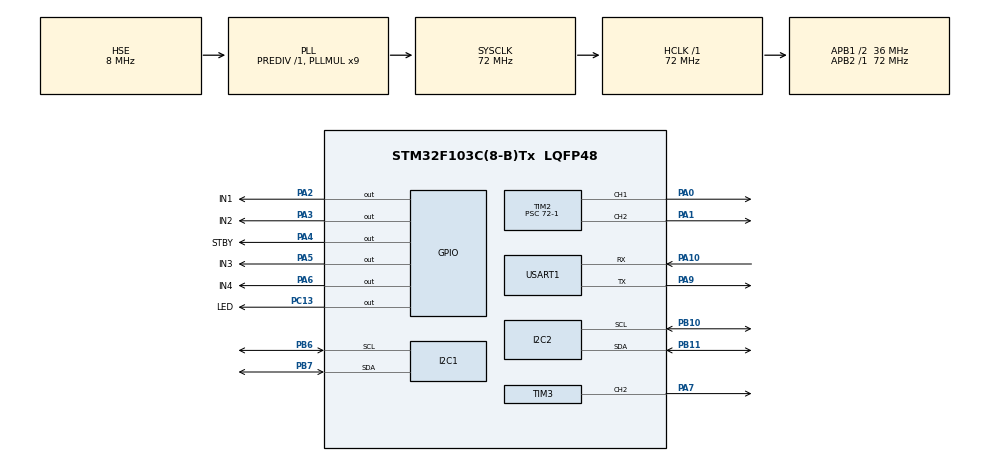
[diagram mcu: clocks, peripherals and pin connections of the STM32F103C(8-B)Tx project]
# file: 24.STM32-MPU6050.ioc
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Dma.Request0=USART1_TX
Dma.Request1=USART1_RX
Dma.USART1_RX.1.Direction=DMA_PERIPH_TO_MEMORY
Dma.USART1_RX.1.Instance=DMA1_Channel5
Dma.USART1_RX.1.MemDataAlignment=DMA_MDATAALIGN_BYTE
Dma.USART1_RX.1.MemInc=DMA_MINC_ENABLE
Dma.USART1_RX.1.Mode=DMA_NORMAL
Dma.USART1_RX.1.PeriphDataAlignment=DMA_PDATAALIGN_BYTE
Dma.USART1_RX.1.PeriphInc=DMA_PINC_DISABLE
Dma.USART1_RX.1.Priority=DMA_PRIORITY_LOW
Dma.USART1_TX.0.Direction=DMA_MEMORY_TO_PERIPH
Dma.USART1_TX.0.Instance=DMA1_Channel4
Dma.USART1_TX.0.MemDataAlignment=DMA_MDATAALIGN_BYTE
Dma.USART1_TX.0.MemInc=DMA_MINC_ENABLE
Dma.USART1_TX.0.Mode=DMA_NORMAL
Dma.USART1_TX.0.PeriphDataAlignment=DMA_PDATAALIGN_BYTE
Dma.USART1_TX.0.PeriphInc=DMA_PINC_DISABLE
Dma.USART1_TX.0.Priority=DMA_PRIORITY_LOW
I2C1.I2C_Mode=I2C_Fast
Mcu.Family=STM32F1
Mcu.Name=STM32F103C(8-B)Tx
Mcu.Package=LQFP48
NVIC.DMA1_Channel4_IRQn=true\:0\:0\:false\:false\:true\:false\:true\:true
NVIC.DMA1_Channel5_IRQn=true\:0\:0\:false\:false\:true\:false\:true\:true
NVIC.PriorityGroup=NVIC_PRIORITYGROUP_4
NVIC.TIM1_TRG_COM_IRQn=true\:0\:0\:false\:false\:true\:true\:true\:true
NVIC.TIM1_UP_IRQn=true\:0\:0\:false\:false\:true\:true\:true\:true
NVIC.USART1_IRQn=true\:0\:0\:false\:false\:true\:true\:true\:true
PA0-WKUP.Signal=S_TIM2_CH1_ETR
PA1.Signal=S_TIM2_CH2
PA10.Mode=Asynchronous
PA10.Signal=USART1_RX
PA13.Mode=Serial_Wire
PA13.Signal=SYS_JTMS-SWDIO
PA14.Mode=Serial_Wire
PA14.Signal=SYS_JTCK-SWCLK
PA2.GPIO_Label=IN1
PA2.GPIO_PuPd=GPIO_PULLUP
PA2.PinState=GPIO_PIN_SET
PA2.Signal=GPIO_Output
PA3.GPIO_Label=IN2
PA3.GPIO_PuPd=GPIO_PULLUP
PA3.PinState=GPIO_PIN_SET
PA3.Signal=GPIO_Output
PA4.GPIO_Label=STBY
PA4.GPIO_PuPd=GPIO_PULLUP
PA4.PinState=GPIO_PIN_SET
PA4.Signal=GPIO_Output
PA5.GPIO_Label=IN3
PA5.GPIO_ModeDefaultOutputPP=GPIO_MODE_OUTPUT_PP
PA5.GPIO_PuPd=GPIO_PULLUP
PA5.PinState=GPIO_PIN_SET
PA5.Signal=GPIO_Output
PA6.GPIO_Label=IN4
PA6.GPIO_ModeDefaultOutputPP=GPIO_MODE_OUTPUT_PP
PA6.GPIO_PuPd=GPIO_PULLUP
PA6.PinState=GPIO_PIN_SET
PA6.Signal=GPIO_Output
PA7.Signal=S_TIM3_CH2
PA9.Mode=Asynchronous
PA9.Signal=USART1_TX
PB10.Mode=I2C
PB10.Signal=I2C2_SCL
PB11.Mode=I2C
PB11.Signal=I2C2_SDA
PB6.Mode=I2C
PB6.Signal=I2C1_SCL
PB7.Mode=I2C
PB7.Signal=I2C1_SDA
PC13-TAMPER-RTC.GPIO_Label=LED
PC13-TAMPER-RTC.GPIO_Speed=GPIO_SPEED_FREQ_HIGH
PC13-TAMPER-RTC.Signal=GPIO_Output
PD0-OSC_IN.Mode=HSE-External-Oscillator
PD0-OSC_IN.Signal=RCC_OSC_IN
PD1-OSC_OUT.Mode=HSE-External-Oscillator
PD1-OSC_OUT.Signal=RCC_OSC_OUT
ProjectManager.HeapSize=0x200
ProjectManager.StackSize=0x400
ProjectManager.TargetToolchain=MDK-ARM V5.32
RCC.AHBFreq_Value=72000000
RCC.APB1CLKDivider=RCC_HCLK_DIV2
RCC.APB1Freq_Value=36000000
RCC.APB1TimFreq_Value=72000000
RCC.APB2Freq_Value=72000000
RCC.APB2TimFreq_Value=72000000
RCC.HCLKFreq_Value=72000000
RCC.PLLMUL=RCC_PLL_MUL9
RCC.PLLSourceVirtual=RCC_PLLSOURCE_HSE
RCC.SYSCLKFreq_VALUE=72000000
RCC.SYSCLKSource=RCC_SYSCLKSOURCE_PLLCLK
RCC.USBFreq_Value=72000000
SH.S_TIM2_CH1_ETR.0=TIM2_CH1,PWM Generation1 CH1
SH.S_TIM2_CH2.0=TIM2_CH2,PWM Generation2 CH2
SH.S_TIM3_CH2.0=TIM3_CH2,PWM Generation2 CH2
STMicroelectronics.X-CUBE-ALGOBUILD.1.4.0.LibraryCcDSPOoLibraryJjDSPOoLibrary=true
TIM1.Period=1000-1
TIM1.Prescaler=72-1
TIM2.AutoReloadPreload=TIM_AUTORELOAD_PRELOAD_ENABLE
TIM2.Channel-PWM\ Generation1\ CH1=TIM_CHANNEL_1
TIM2.Channel-PWM\ Generation2\ CH2=TIM_CHANNEL_2
TIM2.Period=20000-1
TIM2.Prescaler=72-1
TIM3.AutoReloadPreload=TIM_AUTORELOAD_PRELOAD_ENABLE
TIM3.Channel-PWM\ Generation2\ CH2=TIM_CHANNEL_2
TIM3.Period=20000-1
TIM3.Prescaler=10-1
USART1.VirtualMode=VM_ASYNC
VP_STMicroelectronics.X-CUBE-ALGOBUILD_VS_DSPOoLibraryJjLibrary_1.4.0_1.4.0.Mode=DSPOoLibraryJjLibrary
VP_TIM1_VS_ClockSourceINT.Mode=Internal
VP_TIM2_VS_ClockSourceINT.Mode=Internal
VP_TIM3_VS_ClockSourceINT.Mode=Internal
board=custom

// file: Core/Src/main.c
/* USER CODE BEGIN Header */
/**
  ******************************************************************************
  * @file           : main.c
  * @brief          : Main program body
  ******************************************************************************
  * @attention
  *
  * Copyright (c) 2025 STMicroelectronics.
  * All rights reserved.
  *
  * This software is licensed under terms that can be found in the LICENSE file
  * in the root directory of this software component.
  * If no LICENSE file comes with this software, it is provided AS-IS.
  *
  ******************************************************************************
  */
/* USER CODE END Header */
#include "main.h"
#include "dma.h"
#include "i2c.h"
#include "tim.h"
#include "usart.h"
#include "gpio.h"

/* USER CODE BEGIN Includes */
#include "oled.h"
#include "mpu6050.h"
#include "stdlib.h"
#include "stdio.h"
#include "string.h"
#include <stdbool.h>
#include "task.h"
/* USER CODE END Includes */

void SystemClock_Config(void);

/* USER CODE BEGIN 0 */
#ifdef OLD
MPU6050_t mpu6050;
char msg[64];
int num = 1;
bool init_finished = 0;
float servo_angle_deg = 0.0f;
void HAL_TIM_PeriodElapsedCallback(TIM_HandleTypeDef *htim)
{

    //判断程序初始化完成
    if(init_finished == 0)
    {
        return;
    }

    //选择回调函数
    if (htim->Instance == TIM1)
    {
			//MPU6050_Read_All(&hi2c1,&mpu6050);
			//控制电驱
      HAL_GPIO_WritePin(IN1_GPIO_Port, IN1_Pin, GPIO_PIN_RESET);
      HAL_GPIO_WritePin(IN2_GPIO_Port, IN2_Pin, GPIO_PIN_SET);
      HAL_GPIO_WritePin(STBY_GPIO_Port, STBY_Pin, GPIO_PIN_SET);
      __HAL_TIM_SET_COMPARE(&htim2, TIM_CHANNEL_2, 20000); //设置电驱PWM 范围为0 - 20000
      //计算舵机角度
      int16_t set_pwm = (int16_t)(500.0f + servo_angle_deg/180.0f*(2500.0f-500.0f));
        __HAL_TIM_SET_COMPARE(&htim2, TIM_CHANNEL_1, set_pwm);
    }
}
#endif
/* USER CODE END 0 */

int main(void)
{

  /* MCU Configuration--------------------------------------------------------*/

  /* Reset of all peripherals, Initializes the Flash interface and the Systick. */
  HAL_Init();

  /* Configure the system clock */
  SystemClock_Config();

  /* Initialize all configured peripherals */
  MX_GPIO_Init();
  MX_DMA_Init();
  MX_I2C1_Init();
  MX_I2C2_Init();
  MX_USART1_UART_Init();
  MX_TIM1_Init();
  MX_TIM2_Init();
  MX_TIM3_Init();
  /* USER CODE BEGIN 2 */
	//OLED_Init();
  #ifdef NEW
  Task_Init();
  #endif
  #ifdef OLD
	while(MPU6050_Init(&hi2c1))
	{
		HAL_GPIO_TogglePin(LED_GPIO_Port,LED_Pin);
		HAL_Delay(499);
	}
	HAL_Delay(999);
  HAL_TIM_Base_Start_IT(&htim1);
  HAL_TIM_PWM_Start(&htim2, TIM_CHANNEL_1);
  HAL_TIM_PWM_Start(&htim2, TIM_CHANNEL_2);
  init_finished = 1;
  #endif
  /* USER CODE END 2 */

  /* Infinite loop */
  /* USER CODE BEGIN WHILE */
  while (1)
  {
    #ifdef OLD
		MPU6050_Read_All(&hi2c1,&mpu6050);
    #endif
	  #ifdef oled
    OLED_NewFrame();
		OLED_PrintString(45,2,"MENU!",&font15x15,OLED_COLOR_NORMAL);
		sprintf(msg,"AngleX:%.2lf",mpu6050.KalmanAngleX);
		OLED_PrintString(0,17,msg,&font15x15,OLED_COLOR_NORMAL);
		sprintf(msg,"AngleY:%.2lf",mpu6050.KalmanAngleY);
		OLED_PrintString(0,32,msg,&font15x15,OLED_COLOR_NORMAL);
		sprintf(msg,"AngleZ:%.2lf",mpu6050.KalmanAngleZ);
		OLED_PrintString(0,47,msg,&font15x15,OLED_COLOR_NORMAL);

		OLED_ShowFrame();
		sprintf(msg,"%d,%d,%d\n",(int)mpu6050.KalmanAngleX,(int)mpu6050.KalmanAngleY,(int)mpu6050.KalmanAngleZ);
		HAL_UART_Transmit_DMA(&huart1,(uint8_t*)msg,strlen(msg));
		#endif
    #ifdef NEW
    Task_Loop();
    #endif
		//HAL_Delay(1);

    /* USER CODE END WHILE */

  }
}

void SystemClock_Config(void)
{
  RCC_OscInitTypeDef RCC_OscInitStruct = {0};
  RCC_ClkInitTypeDef RCC_ClkInitStruct = {0};

  /** Initializes the RCC Oscillators according to the specified parameters
  * in the RCC_OscInitTypeDef structure.
  */
  RCC_OscInitStruct.OscillatorType = RCC_OSCILLATORTYPE_HSE;
  RCC_OscInitStruct.HSEState = RCC_HSE_ON;
  RCC_OscInitStruct.HSEPredivValue = RCC_HSE_PREDIV_DIV1;
  RCC_OscInitStruct.HSIState = RCC_HSI_ON;
  RCC_OscInitStruct.PLL.PLLState = RCC_PLL_ON;
  RCC_OscInitStruct.PLL.PLLSource = RCC_PLLSOURCE_HSE;
  RCC_OscInitStruct.PLL.PLLMUL = RCC_PLL_MUL9;
  if (HAL_RCC_OscConfig(&RCC_OscInitStruct) != HAL_OK)
  {
    Error_Handler();
  }

  /** Initializes the CPU, AHB and APB buses clocks
  */
  RCC_ClkInitStruct.ClockType = RCC_CLOCKTYPE_HCLK|RCC_CLOCKTYPE_SYSCLK
                              |RCC_CLOCKTYPE_PCLK1|RCC_CLOCKTYPE_PCLK2;
  RCC_ClkInitStruct.SYSCLKSource = RCC_SYSCLKSOURCE_PLLCLK;
  RCC_ClkInitStruct.AHBCLKDivider = RCC_SYSCLK_DIV1;
  RCC_ClkInitStruct.APB1CLKDivider = RCC_HCLK_DIV2;
  RCC_ClkInitStruct.APB2CLKDivider = RCC_HCLK_DIV1;

  if (HAL_RCC_ClockConfig(&RCC_ClkInitStruct, FLASH_LATENCY_2) != HAL_OK)
  {
    Error_Handler();
  }
}

void Error_Handler(void)
{
  __disable_irq();
  while (1)
  {
  }
}
